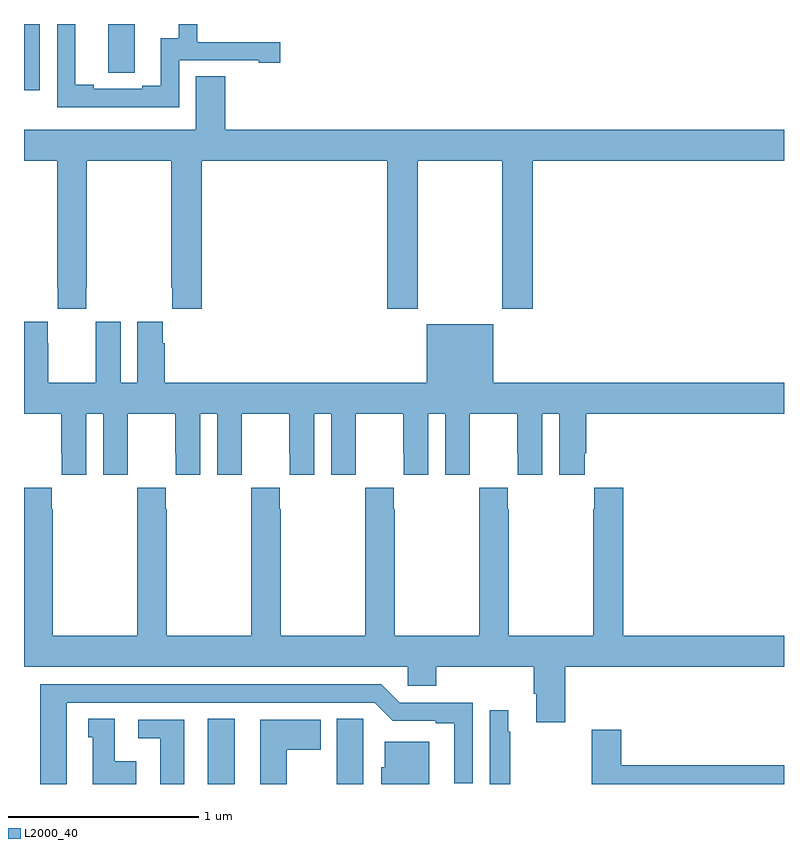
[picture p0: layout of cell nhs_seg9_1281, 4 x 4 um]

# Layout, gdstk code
import gdstk
lib = gdstk.Library(unit=1e-6, precision=1e-09)
def R(c, l, rs):  # rectangles x0, y0, x1, y1
    for r in rs: c.add(gdstk.rectangle(r[:2], r[2:], *l))
def P(c, l, *ps):  # polygons
    for p in ps: c.add(gdstk.Polygon(p, *l))
L2000_40 = (2000, 40)

nhs_seg9_1281 = lib.new_cell('nhs_seg9_1281')
R(nhs_seg9_1281, L2000_40, [(183.968,1166.5,184.108,1166.843), (183,1170.152,183.084,1170.5)])
P(nhs_seg9_1281, L2000_40, [(183.816,1170.309),(184.235,1170.309),(184.235,1170.297),(184.348,1170.297),(184.348,1170.405),(183.914,1170.405),(183.914,1170.406),(183.912,1170.406),(183.912,1170.5),(183.814,1170.5),(183.814,1170.425),(183.719,1170.425),(183.719,1170.174),(183.623,1170.174),(183.623,1170.159),(183.367,1170.159),(183.367,1170.179),(183.271,1170.179),(183.271,1170.5),(183.174,1170.5),(183.174,1170.063),(183.816,1170.063)],
  [(183.582,1170.352),(183.583,1170.352),(183.583,1170.5),(183.443,1170.5),(183.443,1170.244),(183.582,1170.244)],
  [(183.327,1169.113),(183.33,1169.113),(183.33,1169.78),(183.775,1169.78),(183.775,1169.113),(183.781,1169.113),(183.781,1169.001),(183.935,1169.001),(183.935,1169.78),(184.913,1169.78),(184.913,1169.001),(185.073,1169.001),(185.073,1169.78),(185.518,1169.78),(185.518,1169.001),(185.678,1169.001),(185.678,1169.78),(187,1169.78),(187,1169.944),(184.058,1169.944),(184.058,1170.224),(183.905,1170.224),(183.905,1169.944),(183,1169.944),(183,1169.78),(183.175,1169.78),(183.175,1169.113),(183.177,1169.113),(183.177,1169.001),(183.327,1169.001)],
  [(185.47,1168.921),(185.12,1168.921),(185.12,1168.612),(183.74,1168.612),(183.74,1168.82),(183.73,1168.82),(183.73,1168.933),(183.596,1168.933),(183.596,1168.612),(183.508,1168.612),(183.508,1168.933),(183.378,1168.933),(183.378,1168.82),(183.377,1168.82),(183.377,1168.612),(183.127,1168.612),(183.127,1168.82),(183.126,1168.82),(183.126,1168.933),(183,1168.933),(183,1168.448),(183.197,1168.448),(183.197,1168.24),(183.198,1168.24),(183.198,1168.128),(183.328,1168.128),(183.328,1168.448),(183.416,1168.448),(183.416,1168.128),(183.546,1168.128),(183.546,1168.24),(183.547,1168.24),(183.547,1168.448),(183.797,1168.448),(183.797,1168.24),(183.798,1168.24),(183.798,1168.128),(183.928,1168.128),(183.928,1168.448),(184.016,1168.448),(184.016,1168.128),(184.146,1168.128),(184.146,1168.24),(184.147,1168.24),(184.147,1168.448),(184.397,1168.448),(184.397,1168.24),(184.398,1168.24),(184.398,1168.128),(184.528,1168.128),(184.528,1168.448),(184.616,1168.448),(184.616,1168.128),(184.746,1168.128),(184.746,1168.24),(184.747,1168.24),(184.747,1168.448),(184.997,1168.448),(184.997,1168.24),(184.998,1168.24),(184.998,1168.128),(185.128,1168.128),(185.128,1168.448),(185.216,1168.448),(185.216,1168.128),(185.346,1168.128),(185.346,1168.24),(185.347,1168.24),(185.347,1168.448),(185.597,1168.448),(185.597,1168.24),(185.598,1168.24),(185.598,1168.128),(185.728,1168.128),(185.728,1168.448),(185.816,1168.448),(185.816,1168.128),(185.95,1168.128),(185.95,1168.24),(185.96,1168.24),(185.96,1168.448),(187,1168.448),(187,1168.612),(185.47,1168.612)],
  [(185.849,1167.116),(187,1167.116),(187,1167.28),(186.155,1167.28),(186.155,1168.06),(186.001,1168.06),(186.001,1167.947),(185.995,1167.947),(185.995,1167.28),(185.55,1167.28),(185.55,1167.947),(185.547,1167.947),(185.547,1168.06),(185.397,1168.06),(185.397,1167.947),(185.395,1167.947),(185.395,1167.28),(184.95,1167.28),(184.95,1167.947),(184.947,1167.947),(184.947,1168.06),(184.797,1168.06),(184.797,1167.947),(184.795,1167.947),(184.795,1167.28),(184.35,1167.28),(184.35,1167.947),(184.347,1167.947),(184.347,1168.06),(184.197,1168.06),(184.197,1167.947),(184.195,1167.947),(184.195,1167.28),(183.75,1167.28),(183.75,1167.947),(183.747,1167.947),(183.747,1168.06),(183.597,1168.06),(183.597,1167.947),(183.595,1167.947),(183.595,1167.28),(183.15,1167.28),(183.15,1167.947),(183.147,1167.947),(183.147,1168.06),(183,1168.06),(183,1167.116),(185.019,1167.116),(185.019,1167.018),(185.171,1167.018),(185.171,1167.116),(185.684,1167.116),(185.684,1166.974),(185.696,1166.974),(185.696,1166.826),(185.849,1166.826)],
  [(183.226,1166.928),(184.845,1166.928),(184.941,1166.832),(185.168,1166.832),(185.168,1166.82),(185.264,1166.82),(185.264,1166.504),(185.361,1166.504),(185.361,1166.928),(184.977,1166.928),(184.881,1167.024),(183.086,1167.024),(183.086,1166.5),(183.226,1166.5)],
  [(185.56,1166.774),(185.548,1166.774),(185.548,1166.887),(185.451,1166.887),(185.451,1166.5),(185.56,1166.5)],
  [(183.592,1166.62),(183.478,1166.62),(183.478,1166.843),(183.338,1166.843),(183.338,1166.745),(183.362,1166.745),(183.362,1166.5),(183.592,1166.5)],
  [(184.786,1166.732),(184.785,1166.732),(184.785,1166.843),(184.646,1166.843),(184.646,1166.5),(184.786,1166.5)],
  [(184.384,1166.68),(184.561,1166.68),(184.561,1166.839),(184.244,1166.839),(184.244,1166.5),(184.384,1166.5)],
  [(183.844,1166.838),(183.6,1166.838),(183.6,1166.742),(183.716,1166.742),(183.716,1166.5),(183.844,1166.5)],
  [(187,1166.6),(186.143,1166.6),(186.143,1166.785),(185.989,1166.785),(185.989,1166.5),(187,1166.5)],
  [(185.134,1166.722),(184.898,1166.722),(184.898,1166.589),(184.88,1166.589),(184.88,1166.5),(185.134,1166.5)])

lib.write_gds('nhs_seg9_1281.gds')
